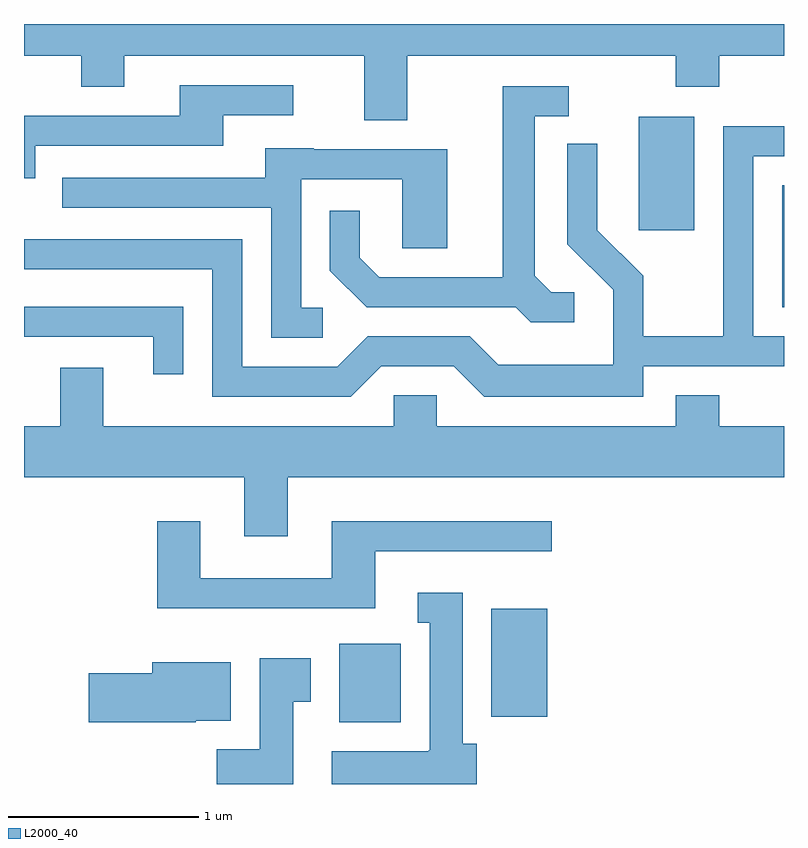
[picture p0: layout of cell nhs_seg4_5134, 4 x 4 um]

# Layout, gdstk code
import gdstk
lib = gdstk.Library(unit=1e-6, precision=1e-09)
def R(c, l, rs):  # rectangles x0, y0, x1, y1
    for r in rs: c.add(gdstk.rectangle(r[:2], r[2:], *l))
def P(c, l, *ps):  # polygons
    for p in ps: c.add(gdstk.Polygon(p, *l))
L2000_40 = (2000, 40)

nhs_seg4_5134 = lib.new_cell('nhs_seg4_5134')
R(nhs_seg4_5134, L2000_40, [(337.271,1322.306,337.594,1322.719), (338.071,1322.336,338.364,1322.904), (339.601,1324.491,339.611,1325.134), (338.846,1324.896,339.139,1325.494)])
P(nhs_seg4_5134, L2000_40, [(337.629,1325.816),(339.041,1325.816),(339.041,1325.651),(339.269,1325.651),(339.269,1325.816),(339.611,1325.816),(339.611,1325.982),(335.611,1325.982),(335.611,1325.816),(335.911,1325.816),(335.911,1325.651),(336.139,1325.651),(336.139,1325.816),(337.401,1325.816),(337.401,1325.476),(337.629,1325.476)],
  [(335.669,1325.341),(336.659,1325.341),(336.659,1325.501),(337.028,1325.501),(337.028,1325.659),(336.431,1325.659),(336.431,1325.499),(335.611,1325.499),(335.611,1325.171),(335.669,1325.171)],
  [(338.508,1324.569),(338.387,1324.569),(338.299,1324.657),(338.299,1325.496),(338.478,1325.496),(338.478,1325.654),(338.131,1325.654),(338.131,1324.649),(337.482,1324.649),(337.379,1324.752),(337.379,1324.998),(337.221,1324.998),(337.221,1324.684),(337.414,1324.491),(338.199,1324.491),(338.279,1324.411),(338.508,1324.411)],
  [(337.492,1324.181),(337.874,1324.181),(338.034,1324.021),(338.869,1324.021),(338.869,1324.181),(339.611,1324.181),(339.611,1324.339),(339.449,1324.339),(339.449,1325.286),(339.611,1325.286),(339.611,1325.444),(339.291,1325.444),(339.291,1324.339),(338.869,1324.339),(338.869,1324.657),(338.629,1324.897),(338.629,1325.353),(338.471,1325.353),(338.471,1324.824),(338.711,1324.584),(338.711,1324.189),(338.107,1324.189),(337.957,1324.339),(337.419,1324.339),(337.259,1324.179),(336.759,1324.179),(336.759,1324.849),(335.611,1324.849),(335.611,1324.691),(336.601,1324.691),(336.601,1324.021),(337.332,1324.021)],
  [(337.183,1324.489),(337.069,1324.489),(337.069,1325.166),(337.601,1325.166),(337.601,1324.801),(337.839,1324.801),(337.839,1325.324),(337.135,1325.324),(337.135,1325.329),(336.881,1325.329),(336.881,1325.174),(335.813,1325.174),(335.813,1325.016),(336.911,1325.016),(336.911,1324.331),(337.183,1324.331)],
  [(336.449,1324.494),(335.611,1324.494),(335.611,1324.336),(336.291,1324.336),(336.291,1324.138),(336.449,1324.138)],
  [(336.999,1323.596),(339.611,1323.596),(339.611,1323.864),(339.269,1323.864),(339.269,1324.029),(339.041,1324.029),(339.041,1323.864),(337.784,1323.864),(337.784,1324.029),(337.556,1324.029),(337.556,1323.864),(336.029,1323.864),(336.029,1324.174),(335.801,1324.174),(335.801,1323.864),(335.611,1323.864),(335.611,1323.596),(336.771,1323.596),(336.771,1323.286),(336.999,1323.286)],
  [(337.459,1323.206),(338.388,1323.206),(338.388,1323.364),(337.231,1323.364),(337.231,1323.064),(336.539,1323.064),(336.539,1323.364),(336.311,1323.364),(336.311,1322.906),(337.459,1322.906)],
  [(337.994,1322.194),(337.919,1322.194),(337.919,1322.989),(337.683,1322.989),(337.683,1322.831),(337.746,1322.831),(337.746,1322.16),(337.74,1322.16),(337.74,1322.154),(337.231,1322.154),(337.231,1321.982),(337.994,1321.982)],
  [(337.029,1322.416),(337.119,1322.416),(337.119,1322.644),(336.851,1322.644),(336.851,1322.164),(336.626,1322.164),(336.626,1321.982),(337.029,1321.982)],
  [(336.515,1322.316),(336.699,1322.316),(336.699,1322.624),(336.286,1322.624),(336.286,1322.564),(335.951,1322.564),(335.951,1322.306),(336.515,1322.306)])

lib.write_gds('nhs_seg4_5134.gds')
